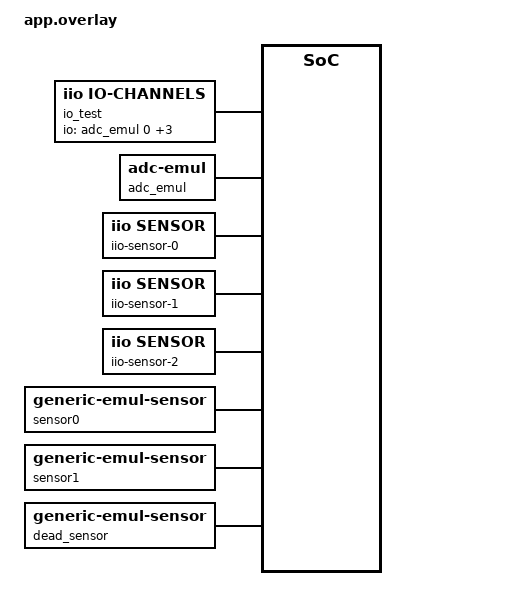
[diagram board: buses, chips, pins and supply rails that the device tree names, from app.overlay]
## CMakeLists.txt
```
# Copyright (c) 2026 Analog Devices, Inc.
# SPDX-License-Identifier: MIT

cmake_minimum_required(VERSION 3.20.0)
find_package(Zephyr REQUIRED HINTS $ENV{ZEPHYR_BASE})
project(libiio_iio_device)

target_sources(app PRIVATE src/io_channels.c src/sensor.c)
```

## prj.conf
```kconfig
# Copyright (c) 2026 Analog Devices, Inc.
# SPDX-License-Identifier: MIT

CONFIG_ZTEST=y
CONFIG_POSIX_API=y
CONFIG_LIBIIO=y
CONFIG_ADC=y
CONFIG_SENSOR=y
CONFIG_EMUL=y
```

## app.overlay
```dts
/*
 * Copyright (c) 2026 Analog Devices, Inc.
 *
 * SPDX-License-Identifier: MIT
 */

#include <dt-bindings/iio/sensor-channels.h>

/ {
	io_test: io-test {
		compatible = "iio,io-channels";
		io-channels = <&adc_emul 0>, <&adc_emul 1>, <&adc_emul 2>, <&adc_emul 3>;
		io-channel-names = "voltage0", "voltage1", "voltage2", "voltage3";
		io-name = "io-test";
	};

	adc_emul: adc {
		compatible = "zephyr,adc-emul";
		nchannels = <4>;
		ref-internal-mv = <3300>;
		ref-external1-mv = <5000>;
		#io-channel-cells = <1>;
		#address-cells = <1>;
		#size-cells = <0>;

		channel@0 {
			reg = <0>;
			zephyr,gain = "ADC_GAIN_1";
			zephyr,reference = "ADC_REF_INTERNAL";
			zephyr,acquisition-time = <ADC_ACQ_TIME_DEFAULT>;
			zephyr,resolution = <12>;
			zephyr,vref-mv = <3300>;
		};

		channel@1 {
			reg = <1>;
			zephyr,gain = "ADC_GAIN_1";
			zephyr,reference = "ADC_REF_INTERNAL";
			zephyr,acquisition-time = <ADC_ACQ_TIME_DEFAULT>;
			zephyr,resolution = <16>;
			zephyr,vref-mv = <3300>;
		};

		channel@2 {
			reg = <2>;
			zephyr,gain = "ADC_GAIN_1";
			zephyr,reference = "ADC_REF_INTERNAL";
			zephyr,acquisition-time = <ADC_ACQ_TIME_DEFAULT>;
			zephyr,resolution = <12>;
		};

		channel@3 {
			reg = <3>;
			zephyr,gain = "ADC_GAIN_1";
			zephyr,reference = "ADC_REF_EXTERNAL1";
			zephyr,acquisition-time = <ADC_ACQ_TIME_DEFAULT>;
			zephyr,resolution = <12>;
			zephyr,vref-mv = <5000>;
		};
	};

	iio-sensor-0 {
		compatible = "iio,sensor";
		sensor-device = <&sensor0>;
		sensor-channels = <IIO_SENSOR_CHAN_ACCEL_X IIO_SENSOR_CHAN_ACCEL_Y
				   IIO_SENSOR_CHAN_DIE_TEMP IIO_SENSOR_CHAN_PRESS
				   IIO_SENSOR_CHAN_RPM>;
		io-name = "sensor0";
	};

	iio-sensor-1 {
		compatible = "iio,sensor";
		sensor-device = <&sensor1>;
		sensor-channels = <IIO_SENSOR_CHAN_VOLTAGE IIO_SENSOR_CHAN_VOLTAGE
				   IIO_SENSOR_CHAN_CURRENT>;
		io-name = "sensor1";
	};

	iio-sensor-2 {
		compatible = "iio,sensor";
		sensor-device = <&dead_sensor>;
		sensor-channels = <IIO_SENSOR_CHAN_DIE_TEMP>;
		io-name = "dead";
	};

	sensor0: sensor-0 {
		compatible = "zephyr,generic-emul-sensor";
	};

	sensor1: sensor-1 {
		compatible = "zephyr,generic-emul-sensor";
	};

	dead_sensor: sensor-2 {
		compatible = "zephyr,generic-emul-sensor";
		negated-init-rc = <5>;
	};
};
```

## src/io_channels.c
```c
/*
 * Copyright (c) 2026 Analog Devices, Inc.
 *
 * SPDX-License-Identifier: MIT
 */

#include <errno.h>
#include <zephyr/drivers/adc/adc_emul.h>
#include <zephyr/ztest.h>
#include <iio/iio.h>

#define ADC DEVICE_DT_GET(DT_NODELABEL(adc_emul))

static struct iio_context *ctx;
static const struct iio_device *iio_dev;

static const struct iio_attr *attr(const char *chn_id, const char *name)
{
	const struct iio_channel *chn = iio_device_find_channel(iio_dev, chn_id, false);

	zassert_not_null(chn, "no channel %s", chn_id);
	return iio_channel_find_attr(chn, name);
}

static ssize_t read(const char *chn_id, const char *name, char *buf, size_t len)
{
	return iio_attr_read_raw(attr(chn_id, name), buf, len);
}

static ssize_t write(const char *chn_id, const char *name, const char *val)
{
	return iio_attr_write_string(attr(chn_id, name), val);
}

#define zassert_attr_equal(chn_id, name, expected)					\
	do {										\
		char buf[32];								\
		zassert_true(read(chn_id, name, buf, sizeof(buf)) > 0);			\
		zassert_str_equal(buf, expected, "%s = %s", name, buf);			\
	} while (0)

static void *io_channels_setup(void)
{
	ctx = iio_create_context(NULL, "zephyr:");
	zassert_false(iio_err(ctx), "iio_create_context: %d", iio_err(ctx));

	iio_dev = iio_context_find_device(ctx, "io-test");
	zassert_not_null(iio_dev);

	return NULL;
}

static void io_channels_teardown(void *fixture)
{
	ARG_UNUSED(fixture);

	iio_context_destroy(ctx);
}

static void io_channels_after(void *fixture)
{
	ARG_UNUSED(fixture);

	zassert_true(write("voltage0", "gain", "1") >= 0);
	zassert_true(write("voltage0", "reference", "Internal") >= 0);
	zassert_true(write("voltage0", "differential", "0") >= 0);
}

ZTEST(libiio_io_channels, test_attrs_follow_the_channel_config)
{
	static const char *const adc_attrs[] = {"raw", "scale", "gain", "process", "reference",
						"differential"};

	ARRAY_FOR_EACH(adc_attrs, i) {
		zassert_not_null(attr("voltage0", adc_attrs[i]), "%s", adc_attrs[i]);
	}

	/* process needs a vref, scale needs a resolution */
	zassert_is_null(attr("voltage2", "process"));
	zassert_not_null(iio_device_find_attr(iio_dev, "internal_ref_voltage"));
}

ZTEST(libiio_io_channels, test_adc_raw_reads_the_input)
{
	zassert_ok(adc_emul_const_raw_value_set(ADC, 0, 1234));
	zassert_attr_equal("voltage0", "raw", "1234");
}

ZTEST(libiio_io_channels, test_adc_scale_is_vref_over_full_scale)
{
	zassert_attr_equal("voltage0", "scale", "0.805664");
}

ZTEST(libiio_io_channels, test_adc_scale_keeps_leading_zeros)
{
	zassert_attr_equal("voltage1", "scale", "0.050354");
}

ZTEST(libiio_io_channels, test_adc_scale_does_not_overflow)
{
	zassert_attr_equal("voltage3", "scale", "1.220703");
}

ZTEST(libiio_io_channels, test_adc_process_is_in_millivolts)
{
	zassert_ok(adc_emul_const_raw_value_set(ADC, 0, 2048));
	zassert_attr_equal("voltage0", "process", "1650");
}

ZTEST(libiio_io_channels, test_gain_round_trips)
{
	zassert_attr_equal("voltage0", "gain", "1");
	zassert_true(write("voltage0", "gain", "2") >= 0);
	zassert_attr_equal("voltage0", "gain", "2");
}

ZTEST(libiio_io_channels, test_gain_rejects_unknown_values)
{
	zassert_equal(write("voltage0", "gain", "7"), -EINVAL);
	zassert_attr_equal("voltage0", "gain", "1");
}

ZTEST(libiio_io_channels, test_reference_round_trips)
{
	zassert_attr_equal("voltage0", "reference", "Internal");
	zassert_true(write("voltage0", "reference", "External1") >= 0);
	zassert_attr_equal("voltage0", "reference", "External1");
}

ZTEST(libiio_io_channels, test_reference_rejects_unknown_values)
{
	zassert_equal(write("voltage0", "reference", "VDD/5"), -EINVAL);
	zassert_attr_equal("voltage0", "reference", "Internal");
}

ZTEST(libiio_io_channels, test_differential_halves_the_range)
{
	zassert_ok(adc_emul_const_raw_value_set(ADC, 0, 1024));
	zassert_attr_equal("voltage0", "process", "825");

	zassert_true(write("voltage0", "differential", "1") >= 0);
	zassert_attr_equal("voltage0", "differential", "1");
	zassert_attr_equal("voltage0", "process", "1650");
}

ZTEST(libiio_io_channels, test_differential_rejects_other_values)
{
	zassert_equal(write("voltage0", "differential", "2"), -EINVAL);
	zassert_attr_equal("voltage0", "differential", "0");
}

ZTEST(libiio_io_channels, test_internal_ref_voltage)
{
	char buf[8];

	zassert_true(iio_attr_read_raw(iio_device_find_attr(iio_dev, "internal_ref_voltage"),
				       buf, sizeof(buf)) > 0);
	zassert_str_equal(buf, "3300");
}

ZTEST(libiio_io_channels, test_raw_write_to_an_input_is_refused)
{
	zassert_equal(write("voltage0", "raw", "1"), -EINVAL);
}

ZTEST_SUITE(libiio_io_channels, NULL, io_channels_setup, NULL, io_channels_after,
	    io_channels_teardown);
```

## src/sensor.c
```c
/*
 * Copyright (c) 2026 Analog Devices, Inc.
 *
 * SPDX-License-Identifier: MIT
 */

#include <errno.h>
#include <zephyr/drivers/emul_sensor.h>
#include <zephyr/drivers/sensor.h>
#include <zephyr/drivers/sensor/generic_emul.h>
#include <zephyr/ztest.h>
#include <iio/iio.h>

#define SENSOR0 EMUL_DT_GET(DT_NODELABEL(sensor0))
#define SENSOR1 EMUL_DT_GET(DT_NODELABEL(sensor1))

/* Values must be exact in q31 with this shift */
#define SHIFT 8

static struct iio_context *ctx;

static void set_value(const struct emul *emul, enum sensor_channel chan, double value)
{
	struct sensor_chan_spec spec = {.chan_type = chan};
	q31_t q = (q31_t)(value * (1 << (31 - SHIFT)));

	zassert_ok(emul_sensor_backend_set_channel(emul, spec, &q, SHIFT));
}

static const struct iio_channel *find_channel(const char *dev_name, const char *chn_id)
{
	const struct iio_device *dev = iio_context_find_device(ctx, dev_name);
	const struct iio_channel *chn;

	zassert_not_null(dev, "no device %s", dev_name);
	chn = iio_device_find_channel(dev, chn_id, false);
	zassert_not_null(chn, "no channel %s on %s", chn_id, dev_name);
	return chn;
}

static ssize_t read(const char *dev_name, const char *chn_id, const char *name, char *buf,
		    size_t len)
{
	const struct iio_attr *attr = iio_channel_find_attr(find_channel(dev_name, chn_id), name);

	return iio_attr_read_raw(attr, buf, len);
}

#define zassert_attr_equal(dev_name, chn_id, name, expected)				\
	do {										\
		char buf[32];								\
		zassert_true(read(dev_name, chn_id, name, buf, sizeof(buf)) > 0);	\
		zassert_str_equal(buf, expected, "%s = %s", chn_id, buf);		\
	} while (0)

static void *sensor_setup(void)
{
	ctx = iio_create_context(NULL, "zephyr:");
	zassert_false(iio_err(ctx), "iio_create_context: %d", iio_err(ctx));

	return NULL;
}

static void sensor_before(void *fixture)
{
	ARG_UNUSED(fixture);

	generic_emul_reset(SENSOR0, true);
	generic_emul_reset(SENSOR1, true);
}

static void sensor_teardown(void *fixture)
{
	ARG_UNUSED(fixture);

	iio_context_destroy(ctx);
}

ZTEST(libiio_sensor, test_channels_are_named_from_the_sensor_channel)
{
	static const char *const sensor0[] = {"accel_x", "accel_y", "temp_die", "pressure0"};
	static const char *const sensor1[] = {"voltage0", "voltage1", "current0"};

	ARRAY_FOR_EACH(sensor0, i) {
		find_channel("sensor0", sensor0[i]);
	}
	ARRAY_FOR_EACH(sensor1, i) {
		find_channel("sensor1", sensor1[i]);
	}
}

ZTEST(libiio_sensor, test_unmapped_channels_are_skipped)
{
	zassert_equal(iio_device_get_channels_count(iio_context_find_device(ctx, "sensor0")), 4);
}

ZTEST(libiio_sensor, test_channels_are_milli_unit_scan_elements)
{
	const struct iio_data_format *accel = iio_channel_get_data_format(
		find_channel("sensor0", "accel_x"));
	const struct iio_data_format *press = iio_channel_get_data_format(
		find_channel("sensor0", "pressure0"));

	zassert_true(iio_channel_is_scan_element(find_channel("sensor0", "accel_x")));
	zassert_equal(accel->bits, 16);
	zassert_true(accel->is_signed);
	zassert_true(accel->with_scale);
	zassert_within(accel->scale, 0.001, 1e-9);
	zassert_false(press->is_signed);
}

ZTEST(libiio_sensor, test_raw_is_in_milli_units)
{
	set_value(SENSOR0, SENSOR_CHAN_ACCEL_X, 9.5);
	set_value(SENSOR0, SENSOR_CHAN_ACCEL_Y, -1.25);

	zassert_attr_equal("sensor0", "accel_x", "raw", "9500");
	zassert_attr_equal("sensor0", "accel_y", "raw", "-1250");
}

ZTEST(libiio_sensor, test_scale_is_milli)
{
	zassert_attr_equal("sensor0", "accel_x", "scale", "0.001");
}

ZTEST(libiio_sensor, test_first_channel_read_fetches_a_new_sample)
{
	set_value(SENSOR0, SENSOR_CHAN_ACCEL_X, 1.0);
	zassert_attr_equal("sensor0", "accel_x", "raw", "1000");

	set_value(SENSOR0, SENSOR_CHAN_ACCEL_X, 2.0);
	zassert_attr_equal("sensor0", "accel_x", "raw", "2000");
}

ZTEST(libiio_sensor, test_fetch_error_is_returned)
{
	char buf[16];

	generic_emul_func_rc(SENSOR0, 0, 0, -EIO);

	zassert_equal(read("sensor0", "accel_x", "raw", buf, sizeof(buf)), -EIO);
}

ZTEST(libiio_sensor, test_instances_read_their_own_sensor)
{
	set_value(SENSOR0, SENSOR_CHAN_ACCEL_X, 3.0);
	set_value(SENSOR1, SENSOR_CHAN_VOLTAGE, 0.5);

	zassert_attr_equal("sensor0", "accel_x", "raw", "3000");
	zassert_attr_equal("sensor1", "voltage0", "raw", "500");
}

ZTEST(libiio_sensor, test_sensor_that_failed_init_is_not_listed)
{
	zassert_is_null(iio_context_find_device(ctx, "dead"));
	zassert_not_null(iio_context_find_device(ctx, "sensor0"));
	zassert_not_null(iio_context_find_device(ctx, "sensor1"));
}

ZTEST_SUITE(libiio_sensor, NULL, sensor_setup, sensor_before, NULL, sensor_teardown);
```
